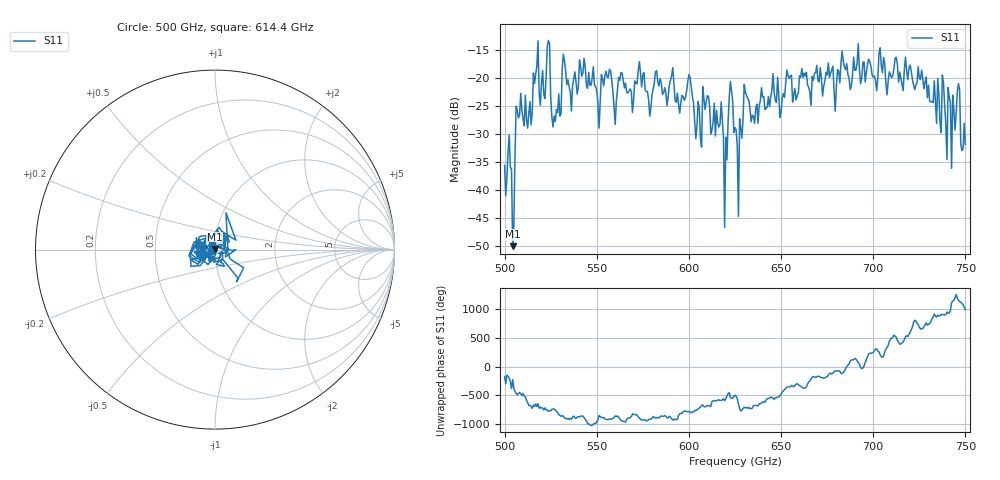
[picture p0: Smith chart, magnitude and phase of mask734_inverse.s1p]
!Created with skrf (http://scikit-rf.org).
# GHz S MA R 50.0
!freq magS11 angS11
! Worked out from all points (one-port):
!   401 points, 500 GHz to 750 GHz, reference 50 ohm
!   lowest |S11| = -50.0 dB at 504.4 GHz (marker M1), VSWR 1.01, Z = 49.8 + j0.231 ohm
!   |S11| at or under -10 dB: start of sweep to end of sweep
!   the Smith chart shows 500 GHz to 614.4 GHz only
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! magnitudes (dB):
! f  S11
! 500 GHz  -35.6
! 502.5 GHz  -30.3
! 504.4 GHz  -50.0
! 507.5 GHz  -27.2
! 513.8 GHz  -24.3
! 516.9 GHz  -19.3
! 520.6 GHz  -18.7
! 523.8 GHz  -13.3
! 526.9 GHz  -26.8
! 531.2 GHz  -18.4
! 562.5 GHz  -20.4
! 593.8 GHz  -22.8
! 600.6 GHz  -19.9
! 605.6 GHz  -25.3
! 608.8 GHz  -25.7
! 617.5 GHz  -24.3
! 619.4 GHz  -46.7
! 622.5 GHz  -20.7
! 625 GHz  -28.9
! 627.5 GHz  -27.3
! 631.2 GHz  -23.1
! 635 GHz  -26.9
! 656.2 GHz  -24.3
! 687.5 GHz  -22.1
! 718.8 GHz  -20.3
! 741.2 GHz  -23.5
! 745.6 GHz  -22.4
! 750 GHz  -31.9
